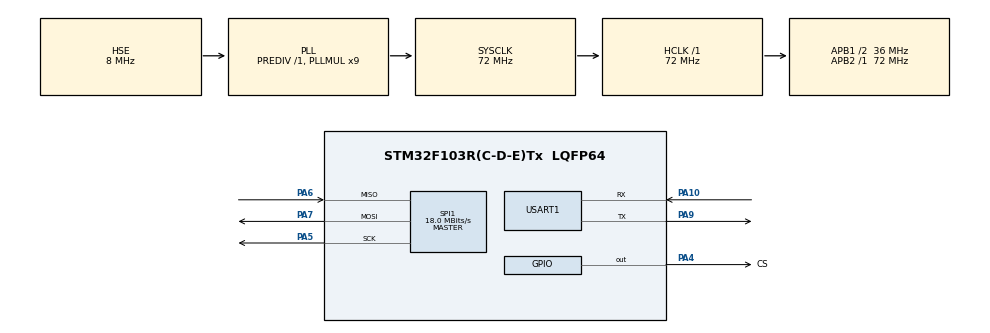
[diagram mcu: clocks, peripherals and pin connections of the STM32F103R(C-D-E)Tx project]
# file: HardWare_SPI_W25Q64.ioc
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Mcu.Family=STM32F1
Mcu.Name=STM32F103R(C-D-E)Tx
Mcu.Package=LQFP64
NVIC.PriorityGroup=NVIC_PRIORITYGROUP_4
PA10.Mode=Asynchronous
PA10.Signal=USART1_RX
PA13.Mode=Serial_Wire
PA13.Signal=SYS_JTMS-SWDIO
PA14.Mode=Serial_Wire
PA14.Signal=SYS_JTCK-SWCLK
PA4.GPIO_Label=CS
PA4.PinState=GPIO_PIN_SET
PA4.Signal=GPIO_Output
PA5.Mode=Full_Duplex_Master
PA5.Signal=SPI1_SCK
PA6.Mode=Full_Duplex_Master
PA6.Signal=SPI1_MISO
PA7.Mode=Full_Duplex_Master
PA7.Signal=SPI1_MOSI
PA9.Mode=Asynchronous
PA9.Signal=USART1_TX
PD0-OSC_IN.Mode=HSE-External-Oscillator
PD0-OSC_IN.Signal=RCC_OSC_IN
PD1-OSC_OUT.Mode=HSE-External-Oscillator
PD1-OSC_OUT.Signal=RCC_OSC_OUT
ProjectManager.HeapSize=0x200
ProjectManager.StackSize=0x400
ProjectManager.TargetToolchain=Makefile
RCC.AHBFreq_Value=72000000
RCC.APB1CLKDivider=RCC_HCLK_DIV2
RCC.APB1Freq_Value=36000000
RCC.APB1TimFreq_Value=72000000
RCC.APB2Freq_Value=72000000
RCC.APB2TimFreq_Value=72000000
RCC.HCLKFreq_Value=72000000
RCC.PLLMUL=RCC_PLL_MUL9
RCC.PLLSourceVirtual=RCC_PLLSOURCE_HSE
RCC.SYSCLKFreq_VALUE=72000000
RCC.SYSCLKSource=RCC_SYSCLKSOURCE_PLLCLK
RCC.USBFreq_Value=72000000
SPI1.BaudRatePrescaler=SPI_BAUDRATEPRESCALER_4
SPI1.CLKPhase=SPI_PHASE_1EDGE
SPI1.CLKPolarity=SPI_POLARITY_LOW
SPI1.CalculateBaudRate=18.0 MBits/s
SPI1.Direction=SPI_DIRECTION_2LINES
SPI1.Mode=SPI_MODE_MASTER
SPI1.VirtualType=VM_MASTER
USART1.VirtualMode=VM_ASYNC
board=custom

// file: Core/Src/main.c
/* USER CODE BEGIN Header */
/**
 ******************************************************************************
 * @file           : main.c
 * @brief          : Main program body
 ******************************************************************************
 * @attention
 *
 * Copyright (c) 2023 STMicroelectronics.
 * All rights reserved.
 *
 * This software is licensed under terms that can be found in the LICENSE file
 * in the root directory of this software component.
 * If no LICENSE file comes with this software, it is provided AS-IS.
 *
 ******************************************************************************
 */
/* USER CODE END Header */
#include "main.h"
#include "spi.h"
#include "usart.h"
#include "gpio.h"

/* USER CODE BEGIN Includes */
#include <stdio.h>
#include "w25q64.h"
/* USER CODE END Includes */

void SystemClock_Config(void);

/* USER CODE BEGIN 0 */
uint8_t dev_id        = 0x00;
uint8_t read_buf[10]  = {0};
uint8_t write_buf[10] = {0};
/* USER CODE END 0 */

int main(void)
{

    /* MCU Configuration--------------------------------------------------------*/

    /* Reset of all peripherals, Initializes the Flash interface and the Systick. */
    HAL_Init();

    /* Configure the system clock */
    SystemClock_Config();

    /* Initialize all configured peripherals */
    MX_GPIO_Init();
    MX_SPI1_Init();
    MX_USART1_UART_Init();
    /* USER CODE BEGIN 2 */
    dev_id = W25Q64_ReadID();
    printf("%d\r\n", dev_id);
    HAL_Delay(1000);
    /* 读取写入地址处的数据 */
    printf("----------------read data------------------\r\n");
    W25Q64_ReadFlash(read_buf, 0, 10);
    for (int i = 0; i < 10; i++) {
        printf("[0x%08x]:0x%02x\r\n", i, read_buf[i]);
    }
    /* 擦除扇区 */
    printf("---------------erase the sector -----------\r\n");
    W25Q64_Erase_Sector(0);
    printf("----------------read data------------------\r\n");
    W25Q64_ReadFlash(read_buf, 0, 10);
    for (int i = 0; i < 10; i++) {
        printf("[0x%08x]:0x%02x\r\n", i, read_buf[i]);
    }
    /* 写入数据 */
    printf("-------- write data -----------\r\n");
    for (int i = 0; i < 10; i++) {
        write_buf[i] = i;
    }
    W25Q64_Write_Page(write_buf, 0, 10);
    W25Q64_ReadFlash(read_buf, 0, 10);
    for (int i = 0; i < 10; i++) {
        printf("[0x%08x]:0x%02x\r\n", i, read_buf[i]);
    }
    /* USER CODE END 2 */

    /* Infinite loop */
    while (1) {

    }
}

void SystemClock_Config(void)
{
    RCC_OscInitTypeDef RCC_OscInitStruct = {0};
    RCC_ClkInitTypeDef RCC_ClkInitStruct = {0};

    /** Initializes the RCC Oscillators according to the specified parameters
     * in the RCC_OscInitTypeDef structure.
     */
    RCC_OscInitStruct.OscillatorType = RCC_OSCILLATORTYPE_HSE;
    RCC_OscInitStruct.HSEState       = RCC_HSE_ON;
    RCC_OscInitStruct.HSEPredivValue = RCC_HSE_PREDIV_DIV1;
    RCC_OscInitStruct.HSIState       = RCC_HSI_ON;
    RCC_OscInitStruct.PLL.PLLState   = RCC_PLL_ON;
    RCC_OscInitStruct.PLL.PLLSource  = RCC_PLLSOURCE_HSE;
    RCC_OscInitStruct.PLL.PLLMUL     = RCC_PLL_MUL9;
    if (HAL_RCC_OscConfig(&RCC_OscInitStruct) != HAL_OK) {
        Error_Handler();
    }

    /** Initializes the CPU, AHB and APB buses clocks
     */
    RCC_ClkInitStruct.ClockType      = RCC_CLOCKTYPE_HCLK | RCC_CLOCKTYPE_SYSCLK | RCC_CLOCKTYPE_PCLK1 | RCC_CLOCKTYPE_PCLK2;
    RCC_ClkInitStruct.SYSCLKSource   = RCC_SYSCLKSOURCE_PLLCLK;
    RCC_ClkInitStruct.AHBCLKDivider  = RCC_SYSCLK_DIV1;
    RCC_ClkInitStruct.APB1CLKDivider = RCC_HCLK_DIV2;
    RCC_ClkInitStruct.APB2CLKDivider = RCC_HCLK_DIV1;

    if (HAL_RCC_ClockConfig(&RCC_ClkInitStruct, FLASH_LATENCY_2) != HAL_OK) {
        Error_Handler();
    }
}

void Error_Handler(void)
{
    __disable_irq();
    while (1) {
    }
}
